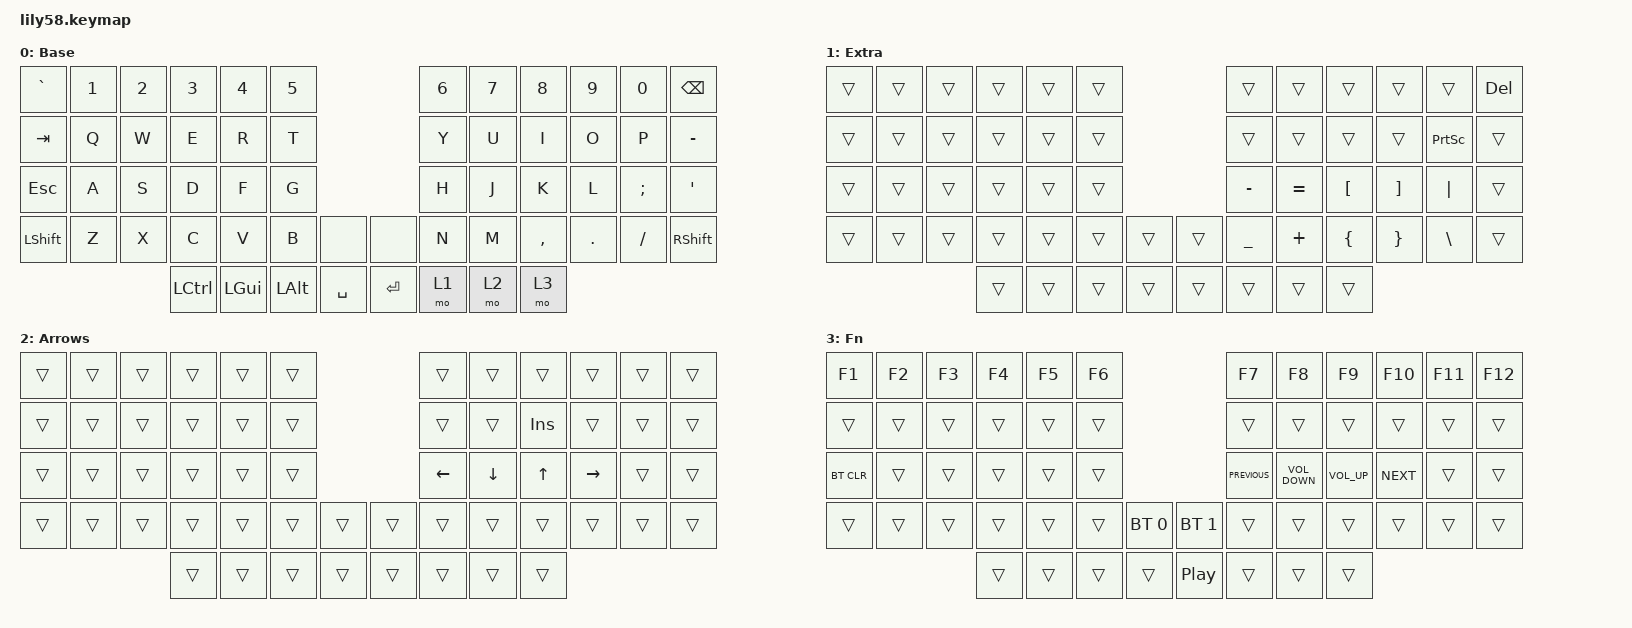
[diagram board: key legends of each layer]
/*
 * Copyright (c) 2020 The ZMK Contributors
 *
 * SPDX-License-Identifier: MIT
 */

#include <behaviors.dtsi>
#include <dt-bindings/zmk/bt.h>
#include <dt-bindings/zmk/keys.h>

/ {
    keymap {
        compatible = "zmk,keymap";

        base {
            display-name = "Base";
            bindings = <
&kp GRAVE   &kp N1  &kp N2  &kp N3     &kp N4    &kp N5                              &kp N6  &kp N7  &kp N8     &kp N9   &kp N0    &kp BACKSPACE
&kp TAB     &kp Q   &kp W   &kp E      &kp R     &kp T                               &kp Y   &kp U   &kp I      &kp O    &kp P     &kp MINUS
&kp ESCAPE  &kp A   &kp S   &kp D      &kp F     &kp G                               &kp H   &kp J   &kp K      &kp L    &kp SEMI  &kp SQT
&kp LSHFT   &kp Z   &kp X   &kp C      &kp V     &kp B         &none        &none    &kp N   &kp M   &kp COMMA  &kp DOT  &kp FSLH  &kp RSHFT
                            &kp LCTRL  &kp LGUI  &kp LEFT_ALT  &kp SPACE    &kp RET  &mo 1   &mo 2   &mo 3
            >;
        };

        extra {
            display-name = "Extra";
            bindings = <
&trans  &trans  &trans  &trans  &trans  &trans                    &trans          &trans     &trans            &trans             &trans           &kp DELETE
&trans  &trans  &trans  &trans  &trans  &trans                    &trans          &trans     &trans            &trans             &kp PRINTSCREEN  &trans
&trans  &trans  &trans  &trans  &trans  &trans                    &kp MINUS       &kp EQUAL  &kp LEFT_BRACKET  &kp RIGHT_BRACKET  &kp PIPE         &trans
&trans  &trans  &trans  &trans  &trans  &trans  &trans    &trans  &kp UNDERSCORE  &kp PLUS   &kp LEFT_BRACE    &kp RIGHT_BRACE    &kp BACKSLASH    &trans
                        &trans  &trans  &trans  &trans    &trans  &trans          &trans     &trans
            >;
        };

        arrows {
            display-name = "Arrows";
            bindings = <
&trans  &trans  &trans  &trans  &trans  &trans                    &trans          &trans          &trans        &trans           &trans  &trans
&trans  &trans  &trans  &trans  &trans  &trans                    &trans          &trans          &kp INSERT    &trans           &trans  &trans
&trans  &trans  &trans  &trans  &trans  &trans                    &kp LEFT_ARROW  &kp DOWN_ARROW  &kp UP_ARROW  &kp RIGHT_ARROW  &trans  &trans
&trans  &trans  &trans  &trans  &trans  &trans  &trans    &trans  &trans          &trans          &trans        &trans           &trans  &trans
                        &trans  &trans  &trans  &trans    &trans  &trans          &trans          &trans
            >;
        };

        fn {
            display-name = "Fn";
            bindings = <
&kp F1      &kp F2  &kp F3  &kp F4  &kp F5  &kp F6                                    &kp F7          &kp F8             &kp F9           &kp F10     &kp F11  &kp F12
&trans      &trans  &trans  &trans  &trans  &trans                                    &trans          &trans             &trans           &trans      &trans   &trans
&bt BT_CLR  &trans  &trans  &trans  &trans  &trans                                    &kp C_PREVIOUS  &kp C_VOLUME_DOWN  &kp C_VOLUME_UP  &kp C_NEXT  &trans   &trans
&trans      &trans  &trans  &trans  &trans  &trans  &bt BT_SEL 0    &bt BT_SEL 1      &trans          &trans             &trans           &trans      &trans   &trans
                            &trans  &trans  &trans  &trans          &kp C_PLAY_PAUSE  &trans          &trans             &trans
            >;
        };
    };
};
